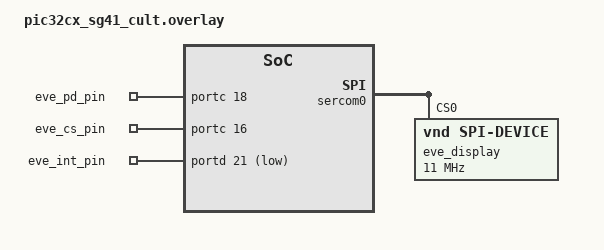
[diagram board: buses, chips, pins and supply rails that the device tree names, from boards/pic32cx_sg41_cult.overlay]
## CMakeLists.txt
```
# SPDX-License-Identifier: Apache-2.0

cmake_minimum_required(VERSION 3.20.0)
find_package(Zephyr REQUIRED HINTS $ENV{ZEPHYR_BASE})
project(
    camper-van-hub
    VERSION 1.0
    LANGUAGES C CXX)

target_sources(app PRIVATE
    src/main.cpp
    src/events.cpp
    ${ZEPHYR_BASE}/../modules/lib/gui/lvgl/src/drivers/draw/eve/lv_draw_eve_display.c
)

target_include_directories(app PRIVATE
    ${CMAKE_CURRENT_SOURCE_DIR}/include
)

add_subdirectory(src/controls)
add_subdirectory(src/display)
add_subdirectory(src/network)
```

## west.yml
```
manifest:
  remotes:
    - name: zephyrproject-rtos
      url-base: https://github.com/zephyrproject-rtos
    - name: microchip
      url-base: https://github.com/Zephyr4Microchip

  projects:
    - name: zephyr
      remote: microchip        # <-- Pull from Zephyr4Microchip
      repo-path: zephyr        # <-- Specifically pull the Zephyr OS repo
      revision: main           # <-- You can lock this to a specific commit hash later
      import: true

  self:
    path: app
```

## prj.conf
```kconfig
CONFIG_DEBUG_OPTIMIZATIONS=y

CONFIG_CPP=y
CONFIG_STD_CPP17=y

CONFIG_GPIO=y
CONFIG_SPI=y

# --- ZEPHYR SYSTEM HEAP & STACK ---
CONFIG_MAIN_STACK_SIZE=8192
CONFIG_HEAP_MEM_POOL_SIZE=32768

# --- LVGL CORE ---
CONFIG_LVGL=y
CONFIG_LV_COLOR_DEPTH_16=y
CONFIG_LV_FONT_MONTSERRAT_24=y
CONFIG_LV_FONT_MONTSERRAT_44=y
CONFIG_LV_USE_SPAN=n
CONFIG_LV_Z_MEM_POOL_SIZE=32768

# --- LVGL ZEPHYR ABSTRACTION OVERRIDES ---
CONFIG_DISPLAY=y
CONFIG_DUMMY_DISPLAY=y
CONFIG_LV_USE_DRAW_EVE=y
CONFIG_LV_Z_AUTO_INIT=n
```

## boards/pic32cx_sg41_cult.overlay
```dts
&pinctrl {
    sercom0_spi_default: sercom0_spi_default {
        group1 {
            /* 
             * PB24 = SERCOM0 PAD0 (MOSI)
             * PB25 = SERCOM0 PAD1 (SCK)
             * PC25 = SERCOM0 PAD3 (MISO)
             * The 'C' designates the specific hardware multiplexer function for SERCOMs
             */
            pinmux = <PB24C_SERCOM0_PAD0>,
                     <PC25C_SERCOM0_PAD3>,
                     <PB25C_SERCOM0_PAD1>;
        };
    };
};

/* Enable SERCOM0 as an SPI bus */
&sercom0 {
    status = "okay";
    compatible = "microchip,sercom-g1-spi";
    #address-cells = <1>;
    #size-cells = <0>;

    /* Atmel SPI Pin Multiplexing (Required by the SPI driver) */
    dipo = <3>; /* Route MISO to PAD[3] (PC25) */
    dopo = <0>; /* Route MOSI to PAD[0] (PB24) and SCK to PAD[1] (PB25) */

    /* Define the EVE display on this bus */
    eve_display: bt81x@0 {
        compatible = "vnd,spi-device"; /* Placeholder until we configure the LVGL driver */
        reg = <0>; /* This tells Zephyr to use the first (and only) CS pin defined above */
        spi-max-frequency = <11000000>; /* 11MHz seems to work well, theoretically can go to 30MHz */
    };
};

/* Disable the Ethernet MAC to prevent it from stealing PB25 (SCK) */
&gmac {
    status = "disabled";
};

/* 2. Define the Power Down (RST) pin so Zephyr can wake the screen */
/ {
    aliases {
        eve-pd = &eve_pd_pin;
        eve-cs = &eve_cs_pin;
        eve-int = &eve_int_pin;
    };

    gpio_keys {
        compatible = "gpio-keys";
        eve_pd_pin: eve_pd {
            /* Map the Reset (RST) to PC18 */
            gpios = <&portc 18 GPIO_ACTIVE_HIGH>;
        };
        eve_cs_pin: eve_cs {
            /* Map the chips select (CS) to PC16 */
            gpios = <&portc 16 GPIO_ACTIVE_HIGH>;
        };
            /* Interrupt pin from EVE display to signal new touch on PD21 */
        eve_int_pin: eve_int {
            gpios = <&portd 21 (GPIO_ACTIVE_LOW | GPIO_PULL_UP)>;
        };
    };
};

/ {
    chosen {
        /* Feed Zephyr's LVGL integration a fake screen */
        zephyr,display = &dummy_disp;
    };

    dummy_disp: dummy_disp {
        compatible = "zephyr,dummy-dc";
        width = <1>;
        height = <1>;
    };
};
```

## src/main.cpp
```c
#include <stdio.h>
#include <zephyr/kernel.h>
#include <zephyr/drivers/gpio.h>
#include <zephyr/drivers/spi.h>

#include <display_thread.hpp>
#include <controls_thread.hpp>
#include <network_thread.hpp>
#include <eve_hardware_struct.hpp>

static const struct gpio_dt_spec led = GPIO_DT_SPEC_GET(DT_ALIAS(led0), gpios);
static const struct gpio_dt_spec eve_cs = GPIO_DT_SPEC_GET(DT_ALIAS(eve_cs), gpios);
static const struct gpio_dt_spec eve_pd = GPIO_DT_SPEC_GET(DT_ALIAS(eve_pd), gpios);
static const struct gpio_dt_spec eve_int = GPIO_DT_SPEC_GET(DT_ALIAS(eve_int), gpios);
/* EVE chips use SPI Mode 0 (CPOL=0, CPHA=0), MSB first */
const struct spi_dt_spec eve_spi = SPI_DT_SPEC_GET(
    DT_NODELABEL(eve_display), 
    SPI_WORD_SET(8) | SPI_TRANSFER_MSB
);

int main(void)
{
    if (!gpio_is_ready_dt(&led) || 
        !gpio_is_ready_dt(&eve_pd) || 
        !gpio_is_ready_dt(&eve_cs) || 
        !gpio_is_ready_dt(&eve_int) ||
        !spi_is_ready_dt(&eve_spi)) {
        return -1; /* Fail immediately if any bus is offline */
    }
    if (gpio_pin_configure_dt(&led, GPIO_OUTPUT_ACTIVE) < 0) {
        return -1;
    }
    if (gpio_pin_configure_dt(&eve_pd, GPIO_OUTPUT_INACTIVE) < 0) {
        return -1;
    }
    if (gpio_pin_configure_dt(&eve_cs, GPIO_OUTPUT_INACTIVE) < 0) {
        return -1;
    }

    // eve_int is both an input and an interrupt
    if (gpio_pin_configure_dt(&eve_int, GPIO_INPUT) < 0) {
        return -1;
    }
    if (gpio_pin_interrupt_configure_dt(&eve_int, GPIO_INT_EDGE_TO_ACTIVE) < 0) {
        return -1;
    }

    EveHardware eve_hw = {
        .spi = &eve_spi,
        .cs = &eve_cs,
        .pd = &eve_pd,
        .int_pin = &eve_int 
    };

    //k_msleep(1000U);
    controls::controls_thread_init();
	network::network_thread_init();
	DisplayThread::display_thread_init(&eve_hw);

    /* Keep UI alive */
    while (1) {
        // TODO: put LED blink back in
        k_msleep(1000);
    }
	return 0;
}
```

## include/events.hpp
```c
#pragma once

#include <zephyr/kernel.h>

extern struct k_sem ui_wake_sem;
```

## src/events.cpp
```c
#include <events.hpp>

/* Actually allocate the memory for the semaphore */
K_SEM_DEFINE(ui_wake_sem, 0, 1);
```
